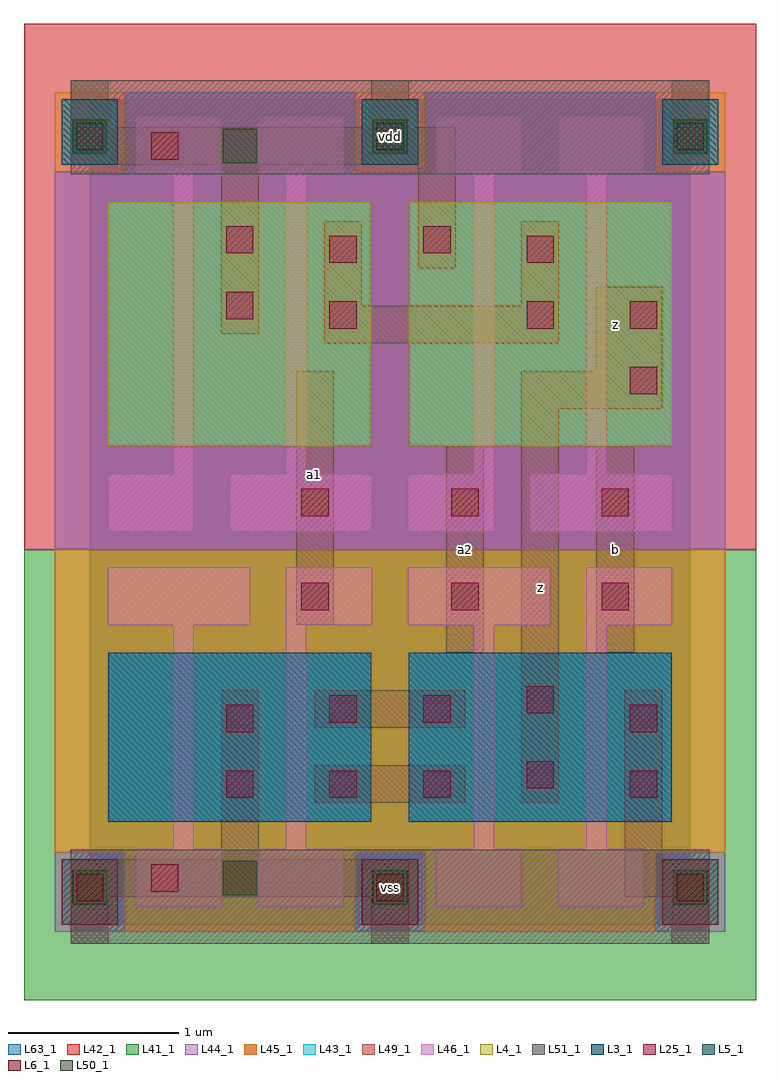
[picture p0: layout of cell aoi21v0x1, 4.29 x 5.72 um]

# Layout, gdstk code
import gdstk
lib = gdstk.Library(unit=1e-6, precision=1e-09)
def R(c, l, rs):  # rectangles x0, y0, x1, y1
    for r in rs: c.add(gdstk.rectangle(r[:2], r[2:], *l))
def A(c, l, x, y, w, h, nx, ny, dx, dy):  # array of equal rectangles
    R(c, l, [(x+i*dx, y+j*dy, x+i*dx+w, y+j*dy+h) for i in range(nx) for j in range(ny)])
L3_1 = (3, 1)
L4_1 = (4, 1)
L5_1 = (5, 1)
L6_1 = (6, 1)
L25_1 = (25, 1)
L41_1 = (41, 1)
L42_1 = (42, 1)
L43_1 = (43, 1)
L44_1 = (44, 1)
L45_1 = (45, 1)
L46_1 = (46, 1)
L49_1 = (49, 1)
L50_1 = (50, 1)
L51_1 = (51, 1)
L63_1 = (63, 1)

aoi21v0x1 = lib.new_cell('aoi21v0x1')
R(aoi21v0x1, L3_1, [(0.11,0.605,1.65,1.595), (1.87,0.605,3.41,1.595)])
R(aoi21v0x1, L4_1, [(0.11,2.805,1.65,4.235), (1.87,2.805,3.41,4.235)])
A(aoi21v0x1, L5_1, -0.165, 4.455, 0.33, 0.385, 3, 1, 1.76, 0)
A(aoi21v0x1, L6_1, -0.165, 0, 0.33, 0.385, 3, 1, 1.76, 0)
A(aoi21v0x1, L25_1, -0.08, 0.14, 0.16, 0.16, 3, 2, 1.76, 4.4)
A(aoi21v0x1, L25_1, 1.24, 1.845, 0.16, 0.16, 3, 2, 0.88, 0.55)
R(aoi21v0x1, L25_1, [(0.36,0.195,0.52,0.355), (0.8,0.745,0.96,0.905), (1.405,0.745,1.565,0.905), (1.955,0.745,2.115,0.905), (3.165,0.745,3.325,0.905), (2.56,0.8,2.72,0.96), (0.8,1.13,0.96,1.29), (3.165,1.13,3.325,1.29), (1.405,1.185,1.565,1.345), (1.955,1.185,2.115,1.345), (2.56,1.24,2.72,1.4), (3.165,3.11,3.325,3.27), (1.405,3.495,1.565,3.655), (2.56,3.495,2.72,3.655), (3.165,3.495,3.325,3.655), (0.8,3.55,0.96,3.71), (1.405,3.88,1.565,4.04), (2.56,3.88,2.72,4.04), (0.8,3.935,0.96,4.095), (1.955,3.935,2.115,4.095), (0.36,4.485,0.52,4.645)])
R(aoi21v0x1, L41_1, [(-0.385,-0.44,3.905,2.2)])
R(aoi21v0x1, L42_1, [(-0.385,2.2,3.905,5.28)])
A(aoi21v0x1, L43_1, -0.165, 0, 0.33, 0.385, 3, 2, 1.76, 4.455)
R(aoi21v0x1, L43_1, [(0.11,0.605,1.65,1.595), (1.87,0.605,3.41,1.595), (0.11,2.805,1.65,4.235), (1.87,2.805,3.41,4.235)])
A(aoi21v0x1, L44_1, -0.205, -0.04, 0.41, 0.465, 3, 1, 1.76, 0)
R(aoi21v0x1, L44_1, [(-0.205,2.2,3.725,4.415), (0.205,4.415,1.555,4.88), (1.965,4.415,3.315,4.88)])
A(aoi21v0x1, L45_1, -0.205, 4.415, 0.41, 0.465, 3, 1, 1.76, 0)
R(aoi21v0x1, L45_1, [(0.205,-0.04,1.555,0.425), (1.965,-0.04,3.315,0.425), (-0.205,0.425,3.725,2.2)])
R(aoi21v0x1, L46_1, [(0.27,0.105,0.775,0.445), (0.985,0.105,1.49,0.445), (2.03,0.105,2.535,0.445), (2.745,0.105,3.25,0.445), (0.49,0.445,0.61,1.755), (1.15,0.445,1.27,1.755), (2.25,0.445,2.37,1.755), (2.91,0.445,3.03,1.755), (0.105,1.755,0.94,2.095), (1.15,1.755,1.655,2.095), (1.865,1.755,2.7,2.095), (2.91,1.755,3.415,2.095), (0.105,2.305,0.61,2.645), (0.82,2.305,1.655,2.645), (1.865,2.305,2.37,2.645), (2.58,2.305,3.415,2.645), (0.49,2.645,0.61,4.395), (1.15,2.645,1.27,4.395), (2.25,2.645,2.37,4.395), (2.91,2.645,3.03,4.395), (0.27,4.395,0.775,4.735), (0.985,4.395,1.49,4.735), (2.03,4.395,2.535,4.735), (2.745,4.395,3.25,4.735)])
A(aoi21v0x1, L49_1, -0.11, -0.11, 0.22, 0.275, 3, 1, 1.76, 0)
R(aoi21v0x1, L49_1, [(-0.11,0.165,1.87,0.385), (3.135,0.165,3.63,0.385), (0.77,0.385,0.99,1.375), (3.135,0.385,3.355,1.375), (1.32,0.715,2.2,0.935), (2.53,0.715,2.75,3.025), (1.32,1.155,2.2,1.375), (2.09,1.595,2.31,2.805), (2.97,1.595,3.19,2.805), (1.21,1.76,1.43,3.245), (2.53,3.025,3.355,3.245), (2.97,3.245,3.355,3.74), (1.375,3.41,2.75,3.63), (0.77,3.465,0.99,4.455), (1.375,3.63,1.595,4.125), (2.53,3.63,2.75,4.125), (1.925,3.85,2.145,4.455), (-0.11,4.455,2.145,4.675), (3.41,4.455,3.63,4.95), (-0.11,4.675,0.11,4.95), (1.65,4.675,1.87,4.95)])
A(aoi21v0x1, L50_1, -0.1, 0.12, 0.2, 0.2, 3, 2, 1.76, 4.4)
R(aoi21v0x1, L50_1, [(0.78,0.175,0.98,0.375), (0.78,4.465,0.98,4.665)])
R(aoi21v0x1, L51_1, [(-0.11,-0.11,3.63,0.44), (-0.11,4.4,3.63,4.95)])
R(aoi21v0x1, L63_1, [(0,0,3.52,4.84)])
aoi21v0x1.add(gdstk.Label('a1', (1.32,2.64), layer=49, texttype=1))
aoi21v0x1.add(gdstk.Label('a2', (2.2,2.2), layer=49, texttype=1))
aoi21v0x1.add(gdstk.Label('z', (2.64,1.98), layer=49, texttype=1))
aoi21v0x1.add(gdstk.Label('b', (3.08,2.2), layer=49, texttype=1))
aoi21v0x1.add(gdstk.Label('z', (3.08,3.52), layer=49, texttype=1))
aoi21v0x1.add(gdstk.Label('vss', (1.76,0.22), layer=51, texttype=1))
aoi21v0x1.add(gdstk.Label('vdd', (1.76,4.62), layer=51, texttype=1))

lib.write_gds('aoi21v0x1.gds')
